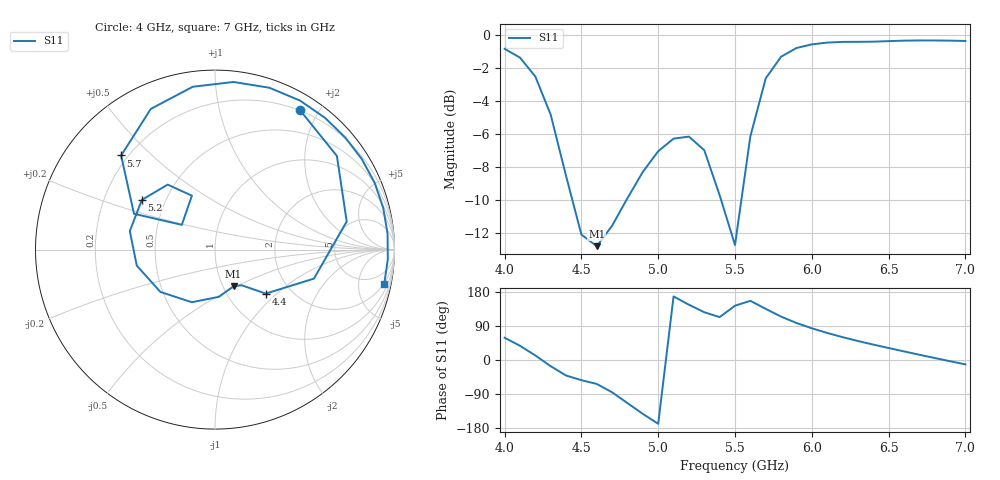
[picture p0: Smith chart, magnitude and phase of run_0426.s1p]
! Touchstone file exported from HFSS 2024.2.0
!  File:  C:/Users/wsak9/Desktop/Sim Fast/Widenad Patch/WP_AI_V1_sweep.aedt
!  Generated:  09:28:37 AM Oct 14, 2026
!  Design:  A1_model
!  Project:  WP_AI_V1_sweep
!  Setup:  Setup1
!  Solution:  Sweep
! Variables:
!  Air_gap = 2.22mm
!  Curve_Amp1 = 1.02
!  Curve_len1 = 1
!  Curve_pos = 11.575mm
!  Extra = 3.91mm
!  H_sub = 0.79mm
!  L_Patch = 19.15mm
!  L_Patch1 = 20.13mm
!  Sx = 2.7mm
!  Sy = 3.64mm
!  WS = 0.22mm
!  W_Patch = 17.74mm
!  W_Patch1 = 16.22mm
!Data is not renormalized
# GHz S MA
! Terminal data exported
! Port[1] = 1
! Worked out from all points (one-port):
!   31 points, 4 GHz to 7 GHz, reference per port
!   lowest |S11| = -12.8 dB at 4.6 GHz (marker M1), VSWR 1.59
!   |S11| at or under -10 dB: 4.441 GHz to 4.793 GHz (352.3 MHz wide, 7.63 % of centre); 5.409 GHz to 5.541 GHz (132 MHz wide, 2.41 % of centre)
!   S11 on the Smith chart (normalised r, x): 4 GHz: 0.19, +1.76; 4.4 GHz: 1.50, -0.85; 5.2 GHz: 0.37, +0.27; 5.7 GHz: 0.17, +0.40; 7 GHz: 1.82, -9.50
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4  0.9107 58.8
4.1  0.8564 37.5
4.2  0.7503 12.0
4.3  0.5746 -16.3
4.4  0.3742 -40.9
4.5  0.2482 -53.2
4.6  0.2288 -63.2
4.7  0.2641 -85.3
4.8  0.3204 -113.8
4.9  0.3848 -142.2
5  0.4447 -168.4
5.1  0.4857 167.7
5.2  0.4927 145.8
5.3  0.4478 126.1
5.4  0.3268 113.2
5.5  0.2308 143.3
5.6  0.4934 156.2
5.7  0.7405 134.9
5.8  0.8617 114.5
5.9  0.9157 97.8
6  0.9396 83.7
6.1  0.9513 71.4
6.2  0.9559 60.3
6.3  0.9564 50.1
6.5  0.9611 31.6
6.7  0.9656 13.9
6.8  0.9655 5.3
7  0.9623 -11.6
